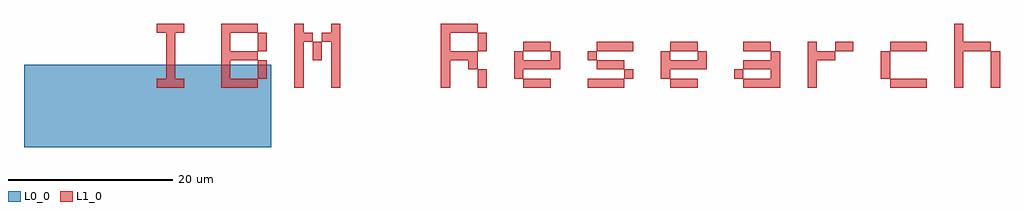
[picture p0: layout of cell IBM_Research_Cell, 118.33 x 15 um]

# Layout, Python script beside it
import gdspy

# Define the library and cell for the GDS layout
lib = gdspy.GdsLibrary()
cell = lib.new_cell('IBM_Research_Cell')

# Parse the user's design specifications and create the rectangle
rectangle = gdspy.Rectangle(
    (0, -5), (30, 5), 
    layer = 0
)

# Add the rectangle to the cell
cell.add(rectangle)

# Create the text at the center of the rectangle
text = gdspy.Text(
    'IBM Research', 
    10, 
    (15, 0), 
    layer = 1
)

# Add the text to the cell
cell.add(text)

# Save the design to a GDS file
lib.write_gds('IBM_Research.gds')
